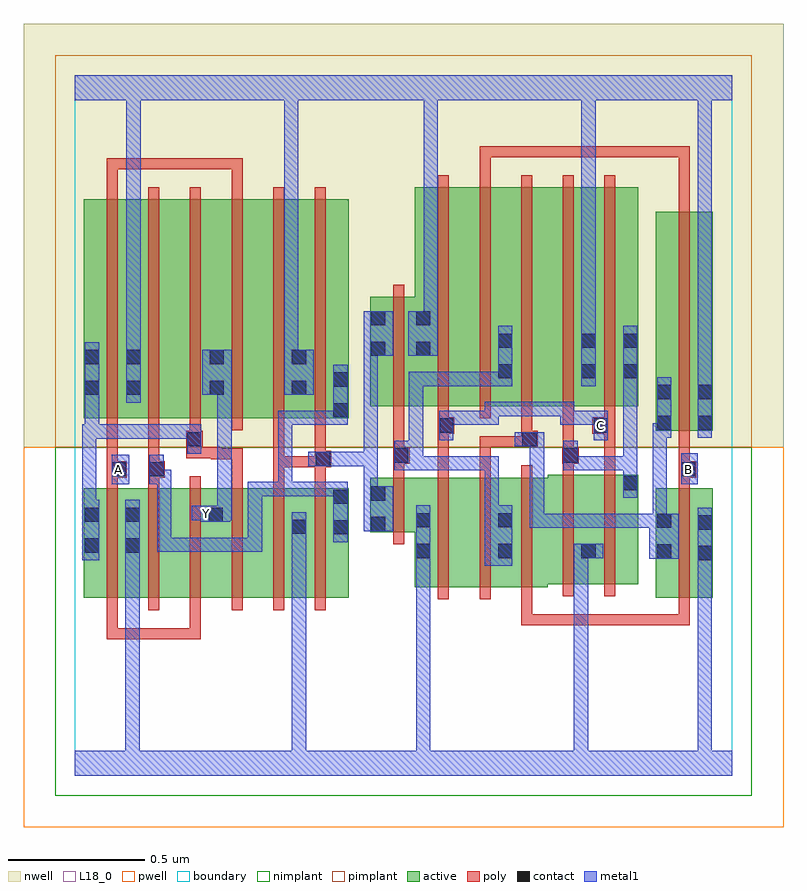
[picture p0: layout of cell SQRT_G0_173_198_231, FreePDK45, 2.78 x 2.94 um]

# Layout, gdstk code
import gdstk
lib = gdstk.Library(unit=1e-6, precision=1e-09)
def R(c, l, rs):  # rectangles x0, y0, x1, y1
    for r in rs: c.add(gdstk.rectangle(r[:2], r[2:], *l))
def A(c, l, x, y, w, h, nx, ny, dx, dy):  # array of equal rectangles
    R(c, l, [(x+i*dx, y+j*dy, x+i*dx+w, y+j*dy+h) for i in range(nx) for j in range(ny)])
active = (1, 0)
pwell = (2, 0)
nwell = (3, 0)
nimplant = (4, 0)
pimplant = (5, 0)
poly = (9, 0)
contact = (10, 0)
metal1 = (11, 0)
L18_0 = (18, 0)
boundary = (235, 0)

sqrt_g0_173_198_231 = lib.new_cell('SQRT_G0_173_198_231')
R(sqrt_g0_173_198_231, active, [(0.032,0.65,0.24,1.05), (0.18,0.65,0.364,1.05), (0.364,0.65,0.544,1.05), (0.484,0.65,0.668,1.05), (0.668,0.65,0.848,1.05), (0.788,0.65,1,1.05), (2.122,0.65,2.33,1.05), (1.242,0.69,1.422,1.09), (1.242,0.69,1.302,1.09), (1.422,0.69,1.602,1.09), (1.542,0.69,1.726,1.09), (1.726,0.7,1.906,1.1), (1.846,0.7,2.058,1.1), (0.032,0.756,0.092,1.05), (0.18,0.756,0.24,0.984), (0.484,0.756,0.544,0.984), (0.788,0.756,0.848,0.94), (0.94,0.756,1,1.05), (1.542,0.756,1.602,1.09), (1.846,0.756,1.906,1.094), (1.998,0.756,2.058,1.1), (2.122,0.756,2.182,1.05), (2.27,0.756,2.33,1.05), (1.078,0.89,1.302,1.09), (1.078,0.89,1.138,1.09), (2.122,1.26,2.33,2.06), (2.122,1.26,2.182,2.044), (2.27,1.26,2.33,2.06), (0.032,1.306,0.244,2.106), (0.032,1.306,0.092,2.044), (0.184,1.306,0.364,2.106), (0.184,1.306,0.244,2.044), (0.364,1.306,0.548,2.106), (0.488,1.306,0.668,2.106), (0.488,1.306,0.548,2.044), (0.668,1.306,0.848,2.106), (0.788,1.306,1,2.106), (0.788,1.306,0.848,2.044), (0.94,1.306,1,2.044), (1.078,1.35,1.138,1.75), (1.078,1.35,1.302,1.75), (1.242,1.35,1.302,2.15), (1.242,1.35,1.422,2.15), (1.422,1.35,1.602,2.15), (1.542,1.35,1.602,2.044), (1.542,1.35,1.726,2.15), (1.726,1.35,1.906,2.15), (1.846,1.35,1.906,2.044), (1.846,1.35,2.058,2.15), (1.998,1.35,2.058,2.044)])
R(sqrt_g0_173_198_231, pwell, [(-0.188,-0.188,2.588,1.2)])
R(sqrt_g0_173_198_231, nwell, [(-0.188,1.2,2.588,2.748)])
R(sqrt_g0_173_198_231, nimplant, [(-0.072,-0.072,2.472,1.2)])
R(sqrt_g0_173_198_231, pimplant, [(-0.072,1.2,2.472,2.632)])
A(sqrt_g0_173_198_231, poly, 0.116, 0.606, 0.04, 0.488, 6, 1, 0.152, 0)
A(sqrt_g0_173_198_231, poly, 1.326, 0.646, 0.04, 0.488, 3, 1, 0.152, 0)
A(sqrt_g0_173_198_231, poly, 0.116, 1.262, 0.04, 0.888, 6, 1, 0.152, 0)
A(sqrt_g0_173_198_231, poly, 1.326, 1.306, 0.04, 0.888, 5, 1, 0.152, 0)
R(sqrt_g0_173_198_231, poly, [(0.116,0.5,0.156,0.54), (0.116,0.5,0.156,0.54), (0.116,0.5,0.156,0.54), (0.116,0.5,0.156,0.646), (0.116,0.5,0.296,0.54), (0.256,0.5,0.296,0.54), (0.256,0.5,0.296,0.54), (0.256,0.5,0.296,0.54), (0.256,0.5,0.46,0.54), (0.42,0.5,0.46,0.54), (0.42,0.5,0.46,0.646), (1.63,0.55,1.67,0.59), (1.63,0.55,1.67,0.59), (1.63,0.55,1.67,0.59), (1.63,0.55,1.824,0.59), (1.63,0.55,1.67,0.686), (1.784,0.55,1.824,0.59), (1.784,0.55,1.824,0.59), (1.784,0.55,1.824,0.59), (1.784,0.55,1.946,0.59), (1.906,0.55,1.946,0.59), (1.906,0.55,1.946,0.59), (1.906,0.55,1.946,0.59), (1.906,0.55,2.246,0.59), (2.206,0.55,2.246,0.59), (2.206,0.55,2.246,0.59), (2.206,0.55,2.246,0.59), (2.206,0.55,2.246,0.646), (2.206,0.606,2.246,1.094), (1.782,0.656,1.822,1.144), (1.934,0.656,1.974,1.144), (1.162,0.846,1.202,1.134), (0.116,1.054,0.156,1.13), (0.268,1.054,0.308,1.13), (0.572,1.054,0.612,1.196), (0.724,1.054,0.764,1.168), (0.876,1.054,0.916,1.168), (2.206,1.054,2.246,1.13), (0.116,1.09,0.19,1.15), (0.268,1.09,0.328,1.15), (2.206,1.09,2.27,1.15), (1.162,1.094,1.202,1.18), (1.326,1.094,1.366,1.29), (1.478,1.094,1.518,1.24), (1.782,1.104,1.822,1.18), (1.934,1.104,1.974,1.29), (0.116,1.11,0.156,1.15), (0.116,1.11,0.156,1.15), (0.116,1.11,0.156,1.302), (0.268,1.11,0.308,1.15), (0.268,1.11,0.308,1.15), (0.268,1.11,0.308,1.302), (2.206,1.11,2.246,1.15), (2.206,1.11,2.246,1.15), (2.206,1.11,2.246,1.256), (0.724,1.128,0.764,1.168), (0.724,1.128,0.764,1.168), (0.724,1.128,0.764,1.168), (0.724,1.128,0.916,1.168), (0.724,1.128,0.764,1.302), (0.876,1.128,0.916,1.168), (0.876,1.128,0.916,1.168), (0.876,1.128,0.916,1.168), (0.876,1.128,0.916,1.168), (0.876,1.128,0.936,1.188), (1.162,1.14,1.222,1.2), (1.78,1.14,1.84,1.2), (0.876,1.148,0.916,1.302), (0.496,1.156,0.612,1.196), (0.496,1.156,0.536,1.2), (0.572,1.156,0.612,1.196), (0.572,1.156,0.612,1.196), (0.572,1.156,0.612,1.196), (0.406,1.16,0.466,1.26), (0.426,1.16,0.536,1.2), (1.162,1.16,1.202,1.2), (1.162,1.16,1.202,1.2), (1.162,1.16,1.202,1.346), (1.782,1.16,1.822,1.2), (1.782,1.16,1.822,1.2), (1.782,1.16,1.822,1.346), (1.478,1.2,1.518,1.24), (1.478,1.2,1.518,1.24), (1.478,1.2,1.518,1.24), (1.478,1.2,1.67,1.24), (1.63,1.2,1.69,1.26), (2.206,1.216,2.246,2.104), (0.42,1.22,0.46,1.302), (1.63,1.22,1.67,1.26), (1.63,1.22,1.67,1.26), (1.63,1.22,1.67,1.346), (1.326,1.25,1.366,1.29), (1.326,1.25,1.366,1.29), (1.326,1.25,1.386,1.31), (1.89,1.25,1.974,1.31), (1.934,1.25,1.974,1.29), (1.934,1.25,1.974,1.29), (1.326,1.27,1.366,1.346), (1.934,1.27,1.974,1.346), (1.162,1.306,1.202,1.794), (2.206,2.064,2.246,2.3), (0.116,2.11,0.156,2.256), (0.572,2.11,0.612,2.256), (1.478,2.154,1.518,2.3), (0.116,2.216,0.156,2.256), (0.116,2.216,0.156,2.256), (0.116,2.216,0.156,2.256), (0.116,2.216,0.34,2.256), (0.3,2.216,0.34,2.256), (0.3,2.216,0.34,2.256), (0.3,2.216,0.34,2.256), (0.3,2.216,0.446,2.256), (0.406,2.216,0.446,2.256), (0.406,2.216,0.612,2.256), (0.572,2.216,0.612,2.256), (0.572,2.216,0.612,2.256), (0.572,2.216,0.612,2.256), (1.478,2.26,1.518,2.3), (1.478,2.26,1.518,2.3), (1.478,2.26,1.518,2.3), (1.478,2.26,1.714,2.3), (1.674,2.26,1.714,2.3), (1.674,2.26,1.714,2.3), (1.674,2.26,1.714,2.3), (1.674,2.26,1.82,2.3), (1.78,2.26,1.82,2.3), (1.78,2.26,1.82,2.3), (1.78,2.26,1.82,2.3), (1.78,2.26,2.14,2.3), (2.1,2.26,2.14,2.3), (2.1,2.26,2.14,2.3), (2.1,2.26,2.14,2.3), (2.1,2.26,2.246,2.3), (2.206,2.26,2.246,2.3), (2.206,2.26,2.246,2.3), (2.206,2.26,2.246,2.3)])
R(sqrt_g0_173_198_231, contact, [(2.274,0.788,2.326,0.84), (2.126,0.794,2.178,0.846), (1.246,0.796,1.298,0.848), (1.546,0.796,1.598,0.848), (1.85,0.796,1.902,0.848), (0.036,0.816,0.088,0.868), (0.184,0.816,0.236,0.868), (0.944,0.882,0.996,0.934), (0.792,0.884,0.844,0.936), (1.082,0.894,1.134,0.946), (2.274,0.9,2.326,0.952), (2.126,0.906,2.178,0.958), (1.246,0.908,1.298,0.96), (1.546,0.908,1.598,0.96), (0.036,0.928,0.088,0.98), (0.184,0.928,0.236,0.98), (0.488,0.928,0.54,0.98), (0.944,0.994,0.996,1.046), (1.082,1.006,1.134,1.058), (2.002,1.044,2.054,1.096), (0.134,1.094,0.186,1.146), (0.272,1.094,0.324,1.146), (2.214,1.094,2.266,1.146), (0.88,1.132,0.932,1.184), (1.166,1.144,1.218,1.196), (1.784,1.144,1.836,1.196), (0.41,1.204,0.462,1.256), (1.634,1.204,1.686,1.256), (1.33,1.254,1.382,1.306), (1.894,1.254,1.946,1.306), (2.126,1.264,2.178,1.316), (2.274,1.264,2.326,1.316), (0.944,1.31,0.996,1.362), (2.126,1.376,2.178,1.428), (2.274,1.376,2.326,1.428), (0.036,1.392,0.088,1.444), (0.188,1.392,0.24,1.444), (0.492,1.392,0.544,1.444), (0.792,1.392,0.844,1.444), (0.944,1.422,0.996,1.474), (1.546,1.452,1.598,1.504), (1.85,1.452,1.902,1.504), (2.002,1.452,2.054,1.504), (0.036,1.504,0.088,1.556), (0.188,1.504,0.24,1.556), (0.492,1.504,0.544,1.556), (0.792,1.504,0.844,1.556), (1.082,1.534,1.134,1.586), (1.246,1.534,1.298,1.586), (1.546,1.564,1.598,1.616), (1.85,1.564,1.902,1.616), (2.002,1.564,2.054,1.616), (1.082,1.646,1.134,1.698), (1.246,1.646,1.298,1.698)])
R(sqrt_g0_173_198_231, metal1, [(0,0,2.4,0.092), (0.184,0.04,0.236,0.092), (0.184,0.04,0.236,0.092), (0.184,0.04,0.236,0.092), (0.184,0.04,0.236,0.092), (0.184,0.04,0.236,0.092), (0.184,0.04,0.236,0.092), (0.184,0.04,0.236,0.092), (0.184,0.04,0.236,0.092), (0.184,0.04,0.236,0.092), (0.184,0.04,0.236,0.092), (0.184,0.04,0.236,0.092), (0.184,0.04,0.236,0.092), (0.184,0.04,0.236,0.84), (0.792,0.04,0.844,0.092), (0.792,0.04,0.844,0.092), (0.792,0.04,0.844,0.092), (0.792,0.04,0.844,0.092), (0.792,0.04,0.844,0.092), (0.792,0.04,0.844,0.092), (0.792,0.04,0.844,0.092), (0.792,0.04,0.844,0.092), (0.792,0.04,0.844,0.092), (0.792,0.04,0.844,0.092), (0.792,0.04,0.844,0.908), (1.246,0.04,1.298,0.092), (1.246,0.04,1.298,0.092), (1.246,0.04,1.298,0.092), (1.246,0.04,1.298,0.092), (1.246,0.04,1.298,0.092), (1.246,0.04,1.298,0.092), (1.246,0.04,1.298,0.092), (1.246,0.04,1.298,0.092), (1.246,0.04,1.298,0.82), (1.822,0.04,1.874,0.092), (1.822,0.04,1.874,0.092), (1.822,0.04,1.874,0.092), (1.822,0.04,1.874,0.092), (1.822,0.04,1.874,0.092), (1.822,0.04,1.874,0.092), (1.822,0.04,1.874,0.092), (1.822,0.04,1.874,0.092), (1.822,0.04,1.874,0.092), (1.822,0.04,1.874,0.092), (1.822,0.04,1.874,0.848), (2.274,0.04,2.326,0.092), (2.274,0.04,2.326,0.092), (2.274,0.04,2.326,0.092), (2.274,0.04,2.326,0.092), (2.274,0.04,2.326,0.812), (2.274,0.76,2.326,0.812), (2.274,0.76,2.326,0.812), (2.274,0.76,2.326,0.812), (2.274,0.76,2.326,0.812), (2.274,0.76,2.326,0.812), (2.274,0.76,2.326,0.812), (2.274,0.76,2.326,0.812), (2.274,0.76,2.326,0.812), (2.274,0.76,2.326,0.98), (1.246,0.768,1.298,0.82), (1.246,0.768,1.298,0.82), (1.246,0.768,1.298,0.82), (1.246,0.768,1.298,0.82), (1.246,0.768,1.298,0.988), (1.496,0.768,1.598,0.988), (0.026,0.788,0.088,1.008), (0.184,0.788,0.236,1.008), (2.098,0.794,2.206,0.958), (1.822,0.796,1.874,0.848), (1.822,0.796,1.874,0.848), (1.822,0.796,1.93,0.848), (0.3,0.818,0.352,0.87), (0.3,0.818,0.462,0.87), (0.3,0.818,0.352,1.118), (0.41,0.818,0.462,0.87), (0.41,0.818,0.462,0.87), (0.41,0.818,0.462,0.87), (0.41,0.818,0.684,0.87), (0.632,0.818,0.684,0.87), (0.632,0.818,0.684,0.87), (0.632,0.818,0.684,0.87), (0.632,0.818,0.684,1.074), (0.944,0.854,0.996,1.074), (0.792,0.856,0.844,0.908), (0.792,0.856,0.844,0.908), (0.792,0.856,0.844,0.964), (1.054,0.894,1.162,1.058), (1.662,0.906,1.714,0.958), (1.662,0.906,1.836,0.958), (1.662,0.906,1.714,1.256), (1.784,0.906,1.836,0.958), (1.784,0.906,1.836,0.958), (1.784,0.906,1.836,0.958), (1.784,0.906,1.836,0.958), (1.784,0.906,1.836,0.958), (1.784,0.906,2.04,0.958), (1.988,0.906,2.04,0.958), (1.988,0.906,2.04,0.958), (1.988,0.906,2.04,0.958), (1.988,0.906,2.15,0.958), (2.11,0.906,2.162,0.958), (2.11,0.906,2.162,0.958), (2.11,0.906,2.162,1.288), (0.46,0.928,0.568,0.98), (0.476,0.928,0.528,0.986), (0.426,0.934,0.572,0.986), (0.52,0.934,0.572,0.986), (0.52,0.934,0.572,0.986), (0.52,0.934,0.572,1.444), (1.496,0.936,1.548,1.168), (0.026,0.956,0.078,1.008), (0.026,0.956,0.078,1.008), (0.026,0.956,0.078,1.284), (1.054,1.006,1.106,1.184), (2.002,1.016,2.054,1.124), (0.632,1.022,0.684,1.074), (0.632,1.022,0.794,1.074), (0.742,1.022,0.794,1.074), (0.742,1.022,0.794,1.074), (0.742,1.022,0.794,1.074), (0.742,1.022,0.794,1.074), (0.742,1.022,0.794,1.074), (0.742,1.022,0.996,1.074), (0.742,1.022,0.794,1.334), (0.944,1.022,0.996,1.074), (0.944,1.022,0.996,1.074), (0.134,1.066,0.198,1.174), (0.272,1.066,0.324,1.174), (0.272,1.066,0.352,1.118), (0.3,1.066,0.352,1.118), (0.3,1.066,0.352,1.118), (0.3,1.066,0.352,1.118), (2.214,1.066,2.274,1.178), (2.002,1.072,2.054,1.168), (1.166,1.116,1.218,1.224), (1.166,1.116,1.272,1.168), (1.22,1.116,1.272,1.168), (1.22,1.116,1.272,1.168), (1.22,1.116,1.272,1.168), (1.22,1.116,1.382,1.168), (1.22,1.116,1.272,1.476), (1.33,1.116,1.382,1.168), (1.33,1.116,1.382,1.168), (1.33,1.116,1.382,1.168), (1.33,1.116,1.548,1.168), (1.496,1.116,1.548,1.168), (1.496,1.116,1.548,1.168), (1.496,1.116,1.548,1.168), (1.784,1.116,1.836,1.168), (1.784,1.116,1.836,1.168), (1.784,1.116,1.946,1.168), (1.784,1.116,1.836,1.224), (1.894,1.116,1.946,1.168), (1.894,1.116,2.054,1.168), (2.002,1.116,2.054,1.168), (2.002,1.116,2.054,1.168), (2.002,1.116,2.054,1.168), (2.002,1.116,2.054,1.476), (0.852,1.132,0.96,1.184), (0.908,1.132,1.106,1.184), (1.054,1.132,1.106,1.184), (1.054,1.132,1.106,1.184), (1.054,1.132,1.106,1.184), (1.054,1.132,1.106,1.184), (1.054,1.132,1.106,1.184), (1.054,1.132,1.106,1.586), (0.41,1.176,0.462,1.284), (1.606,1.204,1.714,1.256), (1.662,1.204,1.714,1.256), (1.662,1.204,1.714,1.256), (1.33,1.226,1.382,1.334), (1.894,1.226,1.946,1.334), (0.026,1.232,0.088,1.284), (0.036,1.232,0.088,1.284), (0.036,1.232,0.088,1.284), (0.036,1.232,0.242,1.284), (0.036,1.232,0.088,1.416), (0.19,1.232,0.242,1.284), (0.19,1.232,0.242,1.284), (0.19,1.232,0.242,1.284), (0.19,1.232,0.352,1.284), (0.3,1.232,0.352,1.284), (0.3,1.232,0.462,1.284), (2.11,1.236,2.162,1.288), (2.11,1.236,2.162,1.288), (2.11,1.236,2.178,1.288), (2.126,1.236,2.178,1.288), (2.126,1.236,2.178,1.456), (2.274,1.236,2.326,1.456), (0.742,1.282,0.794,1.334), (0.742,1.282,0.794,1.334), (0.742,1.282,0.794,1.334), (0.742,1.282,0.996,1.334), (0.944,1.282,0.996,1.334), (0.944,1.282,0.996,1.334), (0.944,1.282,0.996,1.502), (1.33,1.282,1.382,1.334), (1.33,1.282,1.382,1.334), (1.33,1.282,1.548,1.334), (1.496,1.282,1.548,1.334), (1.496,1.282,1.548,1.334), (1.496,1.282,1.548,1.366), (1.772,1.282,1.946,1.334), (1.772,1.282,1.824,1.366), (1.496,1.314,1.658,1.366), (1.606,1.314,1.658,1.366), (1.606,1.314,1.658,1.366), (1.606,1.314,1.658,1.366), (1.606,1.314,1.824,1.366), (1.772,1.314,1.824,1.366), (1.772,1.314,1.824,1.366), (0.036,1.364,0.088,1.584), (0.188,1.364,0.24,1.584), (0.464,1.392,0.572,1.556), (0.764,1.392,0.872,1.556), (2.274,1.404,2.326,1.456), (2.274,1.404,2.326,1.456), (2.274,1.404,2.326,1.456), (2.274,1.404,2.326,1.456), (2.274,1.404,2.326,2.52), (1.22,1.424,1.272,1.476), (1.22,1.424,1.382,1.476), (1.33,1.424,1.382,1.476), (1.33,1.424,1.382,1.476), (1.33,1.424,1.382,1.476), (1.33,1.424,1.492,1.476), (1.44,1.424,1.492,1.476), (1.44,1.424,1.598,1.476), (1.546,1.424,1.598,1.644), (1.85,1.424,1.902,1.644), (2.002,1.424,2.054,1.644), (0.764,1.504,0.816,1.556), (0.764,1.504,0.816,1.556), (0.764,1.504,0.816,2.52), (0.188,1.532,0.24,1.584), (0.188,1.532,0.24,1.584), (0.188,1.532,0.24,1.584), (0.188,1.532,0.24,1.584), (0.188,1.532,0.24,2.52), (1.054,1.534,1.162,1.698), (1.218,1.534,1.326,1.698), (1.85,1.592,1.902,2.52), (1.274,1.646,1.326,2.52), (0,2.468,2.4,2.56), (0.188,2.468,0.24,2.52), (0.188,2.468,0.24,2.52), (0.188,2.468,0.24,2.52), (0.188,2.468,0.24,2.52), (0.764,2.468,0.816,2.52), (0.764,2.468,0.816,2.52), (0.764,2.468,0.816,2.52), (0.764,2.468,0.816,2.52), (0.764,2.468,0.816,2.52), (0.764,2.468,0.816,2.52), (1.274,2.468,1.326,2.52), (1.274,2.468,1.326,2.52), (1.274,2.468,1.326,2.52), (1.274,2.468,1.326,2.52), (1.274,2.468,1.326,2.52), (1.274,2.468,1.326,2.52), (1.274,2.468,1.326,2.52), (1.274,2.468,1.326,2.52), (1.85,2.468,1.902,2.52), (1.85,2.468,1.902,2.52), (1.85,2.468,1.902,2.52), (1.85,2.468,1.902,2.52), (1.85,2.468,1.902,2.52), (1.85,2.468,1.902,2.52), (1.85,2.468,1.902,2.52), (1.85,2.468,1.902,2.52), (2.274,2.468,2.326,2.52), (2.274,2.468,2.326,2.52), (2.274,2.468,2.326,2.52), (2.274,2.468,2.326,2.52)])
R(sqrt_g0_173_198_231, L18_0, [(0,0,2.4,0.092), (0.184,0.04,0.236,0.092), (0.184,0.04,0.236,0.092), (0.184,0.04,0.236,0.092), (0.184,0.04,0.236,0.092), (0.184,0.04,0.236,0.092), (0.184,0.04,0.236,0.092), (0.184,0.04,0.236,0.092), (0.184,0.04,0.236,0.092), (0.184,0.04,0.236,0.092), (0.184,0.04,0.236,0.092), (0.184,0.04,0.236,0.092), (0.184,0.04,0.236,0.092), (0.184,0.04,0.236,0.84), (0.792,0.04,0.844,0.092), (0.792,0.04,0.844,0.092), (0.792,0.04,0.844,0.092), (0.792,0.04,0.844,0.092), (0.792,0.04,0.844,0.092), (0.792,0.04,0.844,0.092), (0.792,0.04,0.844,0.092), (0.792,0.04,0.844,0.092), (0.792,0.04,0.844,0.092), (0.792,0.04,0.844,0.092), (0.792,0.04,0.844,0.908), (1.246,0.04,1.298,0.092), (1.246,0.04,1.298,0.092), (1.246,0.04,1.298,0.092), (1.246,0.04,1.298,0.092), (1.246,0.04,1.298,0.092), (1.246,0.04,1.298,0.092), (1.246,0.04,1.298,0.092), (1.246,0.04,1.298,0.092), (1.246,0.04,1.298,0.82), (1.822,0.04,1.874,0.092), (1.822,0.04,1.874,0.092), (1.822,0.04,1.874,0.092), (1.822,0.04,1.874,0.092), (1.822,0.04,1.874,0.092), (1.822,0.04,1.874,0.092), (1.822,0.04,1.874,0.092), (1.822,0.04,1.874,0.092), (1.822,0.04,1.874,0.092), (1.822,0.04,1.874,0.092), (1.822,0.04,1.874,0.848), (2.274,0.04,2.326,0.092), (2.274,0.04,2.326,0.092), (2.274,0.04,2.326,0.092), (2.274,0.04,2.326,0.092), (2.274,0.04,2.326,0.812), (2.274,0.76,2.326,0.812), (2.274,0.76,2.326,0.812), (2.274,0.76,2.326,0.812), (2.274,0.76,2.326,0.812), (2.274,0.76,2.326,0.812), (2.274,0.76,2.326,0.812), (2.274,0.76,2.326,0.812), (2.274,0.76,2.326,0.812), (2.274,0.76,2.326,0.98), (1.246,0.768,1.298,0.82), (1.246,0.768,1.298,0.82), (1.246,0.768,1.298,0.82), (1.246,0.768,1.298,0.82), (1.246,0.768,1.298,0.988), (0.184,0.788,0.236,1.008), (1.822,0.796,1.874,0.848), (1.822,0.796,1.874,0.848), (1.822,0.796,1.93,0.848), (0.792,0.856,0.844,0.908), (0.792,0.856,0.844,0.908), (0.792,0.856,0.844,0.964), (0.46,0.928,0.568,0.98), (0.476,0.928,0.528,0.986), (0.426,0.934,0.572,0.986), (0.454,0.934,0.506,0.986), (0.52,0.934,0.572,0.986), (0.52,0.934,0.572,0.986), (0.52,0.934,0.572,1.444), (0.134,1.066,0.198,1.174), (2.214,1.066,2.274,1.178), (0.134,1.094,0.186,1.146), (2.214,1.094,2.266,1.146), (1.33,1.226,1.382,1.334), (1.894,1.226,1.946,1.334), (2.274,1.236,2.326,1.456), (1.894,1.254,1.946,1.306), (1.33,1.282,1.382,1.334), (1.33,1.282,1.382,1.334), (1.33,1.282,1.548,1.334), (1.496,1.282,1.548,1.334), (1.496,1.282,1.548,1.334), (1.496,1.282,1.548,1.366), (1.772,1.282,1.824,1.366), (1.772,1.282,1.946,1.334), (1.496,1.314,1.658,1.366), (1.606,1.314,1.658,1.366), (1.606,1.314,1.658,1.366), (1.606,1.314,1.658,1.366), (1.606,1.314,1.824,1.366), (1.772,1.314,1.824,1.366), (1.772,1.314,1.824,1.366), (0.188,1.364,0.24,1.584), (0.464,1.392,0.572,1.556), (0.764,1.392,0.872,1.556), (2.274,1.404,2.326,1.456), (2.274,1.404,2.326,1.456), (2.274,1.404,2.326,1.456), (2.274,1.404,2.326,1.456), (2.274,1.404,2.326,2.52), (1.85,1.424,1.902,1.644), (0.764,1.504,0.816,1.556), (0.764,1.504,0.816,1.556), (0.764,1.504,0.816,2.52), (0.188,1.532,0.24,1.584), (0.188,1.532,0.24,1.584), (0.188,1.532,0.24,1.584), (0.188,1.532,0.24,1.584), (0.188,1.532,0.24,2.52), (1.218,1.534,1.326,1.698), (1.85,1.592,1.902,2.52), (1.274,1.646,1.326,2.52), (0,2.468,2.4,2.56), (0.188,2.468,0.24,2.52), (0.188,2.468,0.24,2.52), (0.188,2.468,0.24,2.52), (0.188,2.468,0.24,2.52), (0.764,2.468,0.816,2.52), (0.764,2.468,0.816,2.52), (0.764,2.468,0.816,2.52), (0.764,2.468,0.816,2.52), (0.764,2.468,0.816,2.52), (0.764,2.468,0.816,2.52), (1.274,2.468,1.326,2.52), (1.274,2.468,1.326,2.52), (1.274,2.468,1.326,2.52), (1.274,2.468,1.326,2.52), (1.274,2.468,1.326,2.52), (1.274,2.468,1.326,2.52), (1.274,2.468,1.326,2.52), (1.274,2.468,1.326,2.52), (1.85,2.468,1.902,2.52), (1.85,2.468,1.902,2.52), (1.85,2.468,1.902,2.52), (1.85,2.468,1.902,2.52), (1.85,2.468,1.902,2.52), (1.85,2.468,1.902,2.52), (1.85,2.468,1.902,2.52), (1.85,2.468,1.902,2.52), (2.274,2.468,2.326,2.52), (2.274,2.468,2.326,2.52), (2.274,2.468,2.326,2.52), (2.274,2.468,2.326,2.52)])
R(sqrt_g0_173_198_231, boundary, [(0,0,2.4,2.56)])
sqrt_g0_173_198_231.add(gdstk.Label('A', (0.16,1.12), layer=11, texttype=0))
sqrt_g0_173_198_231.add(gdstk.Label('B', (2.24,1.12), layer=11, texttype=0))
sqrt_g0_173_198_231.add(gdstk.Label('C', (1.92,1.28), layer=11, texttype=0))
sqrt_g0_173_198_231.add(gdstk.Label('Y', (0.48,0.96), layer=11, texttype=0))

lib.write_gds('SQRT_G0_173_198_231.gds')
